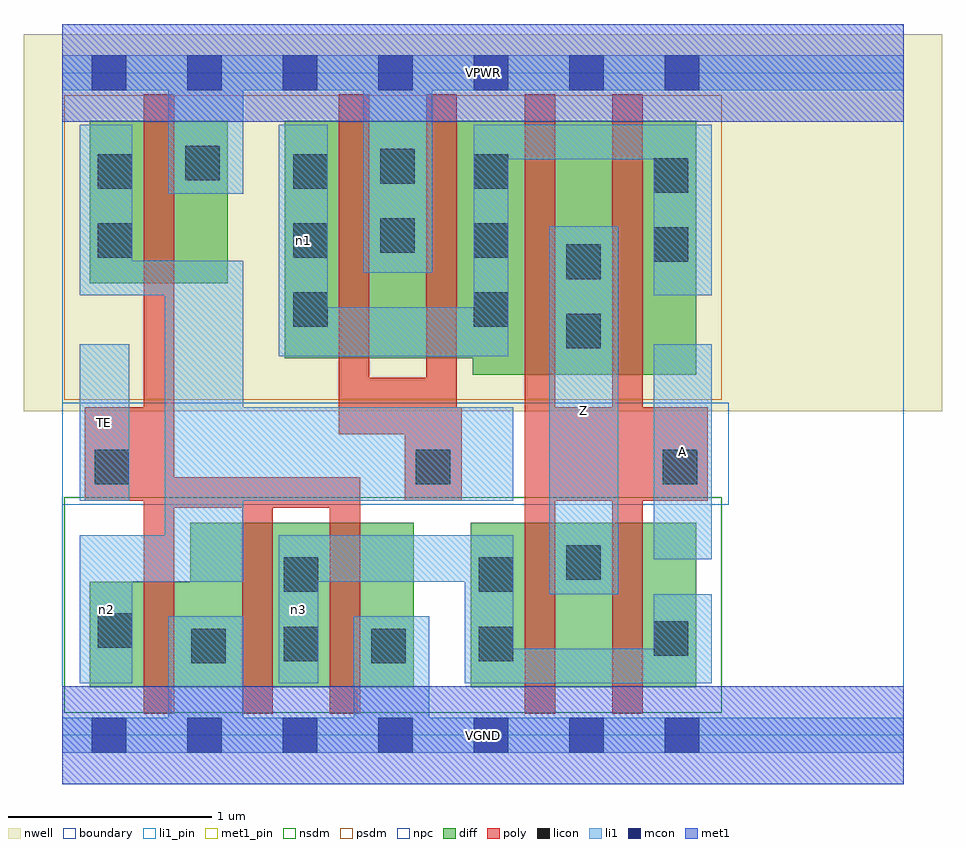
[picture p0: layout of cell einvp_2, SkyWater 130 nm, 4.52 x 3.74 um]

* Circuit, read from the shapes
.subckt einvp_2 A TE VGND VPWR Z n1 n2 n3
XM1 VGND TE n2 VSUBS sky130_fd_pr__nfet_01v8 w=0.52 l=0.15
XM2 n3 TE VGND VSUBS sky130_fd_pr__nfet_01v8 w=0.81 l=0.15 m=2
XM3 Z A n3 VSUBS sky130_fd_pr__nfet_01v8 w=0.81 l=0.15 m=2
XM4 VPWR TE n2 n4 sky130_fd_pr__pfet_01v8 w=0.8 l=0.15
XM5 VPWR n2 n1 n4 sky130_fd_pr__pfet_01v8 w=1.17 l=0.15 m=2
XM6 Z A n1 n4 sky130_fd_pr__pfet_01v8 w=1.25 l=0.15 m=2
.ends

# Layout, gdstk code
import gdstk
lib = gdstk.Library(unit=1e-6, precision=1e-09)
def R(c, l, rs):  # rectangles x0, y0, x1, y1
    for r in rs: c.add(gdstk.rectangle(r[:2], r[2:], *l))
def A(c, l, x, y, w, h, nx, ny, dx, dy):  # array of equal rectangles
    R(c, l, [(x+i*dx, y+j*dy, x+i*dx+w, y+j*dy+h) for i in range(nx) for j in range(ny)])
nwell = (64, 20)
diff = (65, 20)
poly = (66, 20)
licon = (66, 44)
li1_pin = (67, 16)
li1 = (67, 20)
mcon = (67, 44)
met1_pin = (68, 16)
met1 = (68, 20)
nsdm = (93, 44)
psdm = (94, 20)
npc = (95, 20)
boundary = (235, 4)

einvp_2 = lib.new_cell('einvp_2')
R(einvp_2, nwell, [(-0.19,1.595,4.33,3.45), (0,1.595,4.14,3.45)])
R(einvp_2, diff, [(0.135,0.235,1.73,0.755), (0.63,0.235,1.73,1.045), (2.01,0.235,3.12,1.045), (2.02,1.775,3.12,3.025), (1.095,1.855,3.12,3.025), (0.135,2.225,0.815,3.025)])
R(einvp_2, poly, [(0.4,0.105,0.55,3.155), (0.885,0.105,1.035,1.27), (1.315,0.105,1.465,1.27), (2.275,0.105,2.425,3.155), (2.705,0.105,2.855,3.155), (0.4,1.12,1.465,1.27), (0.11,1.155,0.55,1.615), (1.685,1.155,1.94,1.76), (1.685,1.155,1.965,1.615), (1.79,1.155,1.94,3.155), (2.275,1.155,3.175,1.615), (1.36,1.48,1.51,3.155), (1.36,1.48,1.94,1.76)])
A(einvp_2, licon, 1.135, 2.01, 0.17, 0.17, 1, 3, 0, 0.34)
A(einvp_2, licon, 2.025, 2.01, 0.17, 0.17, 1, 3, 0, 0.34)
R(einvp_2, licon, [(0.635,0.355,0.805,0.525), (1.52,0.355,1.69,0.525), (1.09,0.365,1.26,0.535), (2.05,0.365,2.22,0.535), (2.91,0.39,3.08,0.56), (0.175,0.43,0.345,0.6), (1.09,0.705,1.26,0.875), (2.05,0.705,2.22,0.875), (2.48,0.765,2.65,0.935), (0.16,1.235,0.33,1.405), (1.74,1.235,1.91,1.405), (2.955,1.235,3.125,1.405), (2.48,1.905,2.65,2.075), (2.48,2.245,2.65,2.415), (2.91,2.33,3.08,2.5), (0.175,2.35,0.345,2.52), (1.565,2.375,1.735,2.545), (2.91,2.67,3.08,2.84), (0.175,2.69,0.345,2.86), (1.565,2.715,1.735,2.885), (0.605,2.73,0.775,2.9)])
R(einvp_2, li1_pin, [(2.395,0.695,2.735,2.505), (2.91,0.865,3.195,1.925), (0.085,1.155,0.33,1.925)])
R(einvp_2, li1, [(0,-0.085,4.14,0.085), (0.52,-0.085,0.89,0.585), (1.435,-0.085,1.805,0.585), (0.085,0.255,0.345,0.985), (1.065,0.255,1.26,0.985), (1.98,0.255,3.195,0.425), (1.98,0.255,2.22,0.985), (2.91,0.255,3.195,0.695), (2.395,0.695,2.735,2.505), (0.085,0.755,0.89,0.985), (0.505,0.755,0.89,2.335), (1.065,0.755,2.22,0.985), (2.91,0.865,3.195,1.925), (0.085,1.155,0.33,1.925), (0.505,1.155,2.22,1.615), (1.065,1.865,1.305,3.005), (1.065,1.865,2.195,2.105), (2.025,1.865,2.195,3.005), (0.085,2.165,0.345,3.005), (0.085,2.165,0.89,2.335), (2.91,2.165,3.195,3.005), (1.48,2.275,1.82,3.345), (0.52,2.665,0.89,3.345), (2.025,2.835,3.195,3.005), (0,3.175,4.14,3.345)])
A(einvp_2, mcon, 0.145, -0.085, 0.17, 0.17, 7, 2, 0.47, 3.26)
R(einvp_2, met1_pin, [(0,-0.24,4.14,0.24), (0,3.02,4.14,3.5)])
R(einvp_2, met1, [(0,-0.24,4.14,0.24), (0,3.02,4.14,3.5)])
R(einvp_2, nsdm, [(0.01,0.11,3.245,1.17)])
R(einvp_2, psdm, [(0.01,1.65,3.245,3.15)])
R(einvp_2, npc, [(0,1.135,3.28,1.635)])
R(einvp_2, boundary, [(0,0,4.14,3.26)])
einvp_2.add(gdstk.Label('A', (3.052,1.395), layer=67, texttype=5))
einvp_2.add(gdstk.Label('TE', (0.207,1.54), layer=67, texttype=5))
einvp_2.add(gdstk.Label('Z', (2.565,1.6), layer=67, texttype=5))
einvp_2.add(gdstk.Label('n3', (1.162,0.62), layer=67, texttype=5))
einvp_2.add(gdstk.Label('n2', (0.215,0.62), layer=67, texttype=5))
einvp_2.add(gdstk.Label('n1', (1.185,2.435), layer=67, texttype=5))
einvp_2.add(gdstk.Label('VPWR', (2.07,3.26), layer=68, texttype=5))
einvp_2.add(gdstk.Label('VGND', (2.07,0), layer=68, texttype=5))
einvp_2.add(gdstk.Label('A', (3.052,1.395), layer=67, texttype=16))
einvp_2.add(gdstk.Label('TE', (0.207,1.54), layer=67, texttype=16))
einvp_2.add(gdstk.Label('Z', (2.565,1.6), layer=67, texttype=16))
einvp_2.add(gdstk.Label('VPWR', (2.07,3.26), layer=68, texttype=16))
einvp_2.add(gdstk.Label('VGND', (2.07,0), layer=68, texttype=16))

lib.write_gds('einvp_2.gds')
